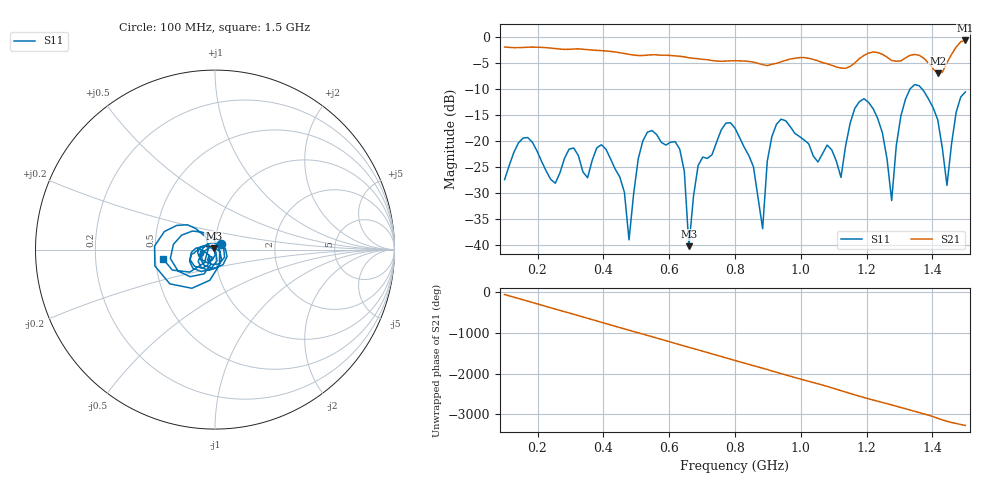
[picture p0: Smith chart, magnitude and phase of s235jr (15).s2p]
! NanoVNA-App
! Date: 2025-09-25 15:04:16
! Start: 100MHz Stop: 1,5GHz Points: 101
! S-Parameter data: F S11 S21 S12 S22
# Hz S RI R 50
!  Frequency  S11_Real  S11_Imag  S21_Real  S21_Imag  S12_Real  S12_Imag  S22_Real  S22_Imag
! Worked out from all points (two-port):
!   101 points, 100 MHz to 1.5 GHz, reference 50 ohm
!   highest |S21| = -0.70 dB at 1.5 GHz (marker M1); lowest = -7.0 dB at 1.416 GHz (marker M2)
!   |S21| within 3 dB of the highest: start of sweep to 624.8 MHz; 1.189 GHz to 1.256 GHz (67.13 MHz wide, 5.49 % of centre) (the widest 2 of 4)
!   lowest |S11| = -40.3 dB at 660 MHz (marker M3), VSWR 1.02, Z = 49.3 + j0.636 ohm
!   |S11| at or under -10 dB: start of sweep to 1.332 GHz; 1.368 GHz to end of sweep
!   S12 and S22 are empty: the file has one direction only
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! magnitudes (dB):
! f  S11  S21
! 100 MHz  -27.5  -2.0
! 170 MHz  -19.4  -2.0
! 338 MHz  -26.0  -2.4
! 408 MHz  -21.6  -2.7
! 478 MHz  -39.1  -3.4
! 520 MHz  -20.0  -3.6
! 576 MHz  -20.3  -3.5
! 632 MHz  -21.6  -3.7
! 660 MHz  -40.3  -4.0
! 688 MHz  -24.8  -4.2
! 800 MHz  -17.6  -4.6
! 884 MHz  -36.9  -5.3
! 926 MHz  -16.8  -5.1
! 1.038 GHz  -23.0  -4.3
! 1.122 GHz  -27.1  -6.0
! 1.192 GHz  -11.9  -3.6
! 1.248 GHz  -18.5  -3.4
! 1.276 GHz  -31.5  -4.6
! 1.332 GHz  -10.0  -3.6
! 1.416 GHz  -16.0  -7.0
! 1.444 GHz  -28.6  -5.0
! 1.5 GHz  -10.6  -0.7
